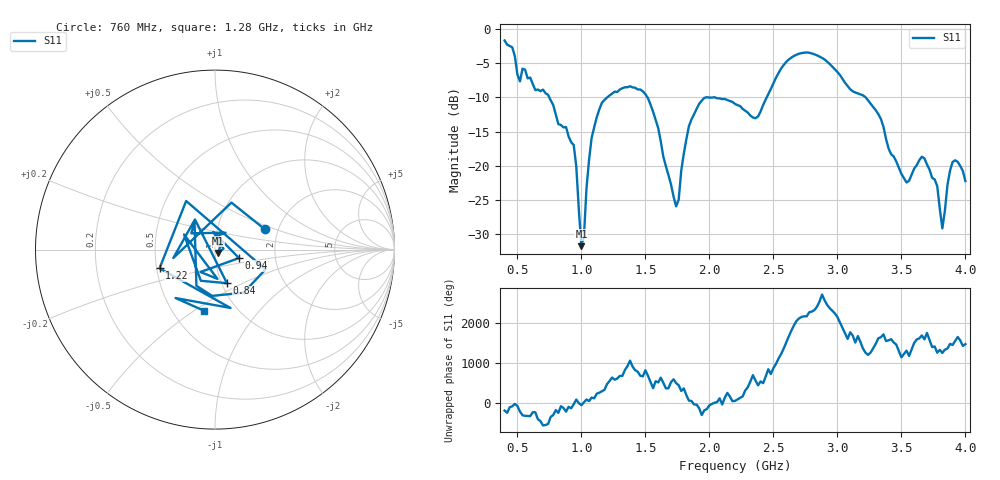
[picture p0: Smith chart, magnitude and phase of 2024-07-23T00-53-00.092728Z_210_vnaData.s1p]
!Created with skrf (http://scikit-rf.org).
# Hz S RI R 50.0
!freq ReS11 ImS11
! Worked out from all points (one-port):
!   181 points, 400 MHz to 4 GHz, reference 50 ohm
!   lowest |S11| = -31.8 dB at 1 GHz (marker M1), VSWR 1.05, Z = 51.8 - j1.87 ohm
!   |S11| at or under -10 dB: 749 MHz to 1.202 GHz (453.2 MHz wide, 46.5 % of centre); 1.516 GHz to 1.976 GHz (460.4 MHz wide, 26.4 % of centre); 3.221 GHz to end of sweep (the widest 3 of 5)
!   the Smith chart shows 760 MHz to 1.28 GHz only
!   S11 on the Smith chart (normalised r, x): 760 MHz: 1.71, +0.42; 840 MHz: 1.06, -0.41; 940 MHz: 1.30, -0.12; 1.22 GHz: 0.52, -0.12; 1.28 GHz: 0.71, -0.55
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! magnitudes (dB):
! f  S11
! 400 MHz  -1.7
! 520 MHz  -7.7
! 760 MHz  -10.4
! 840 MHz  -14.0
! 860 MHz  -14.4
! 940 MHz  -17.0
! 1 GHz  -31.8
! 1.02 GHz  -30.3
! 1.04 GHz  -23.2
! 1.08 GHz  -15.9
! 1.22 GHz  -9.7
! 1.28 GHz  -9.2
! 1.3 GHz  -8.9
! 1.52 GHz  -10.1
! 1.76 GHz  -25.0
! 1.84 GHz  -14.2
! 1.92 GHz  -11.0
! 2.2 GHz  -11.0
! 2.38 GHz  -12.8
! 2.66 GHz  -4.0
! 3.1 GHz  -8.8
! 3.32 GHz  -12.5
! 3.56 GHz  -22.2
! 3.68 GHz  -18.9
! 3.78 GHz  -23.0
! 3.82 GHz  -29.2
! 3.9 GHz  -19.5
! 4 GHz  -22.2
